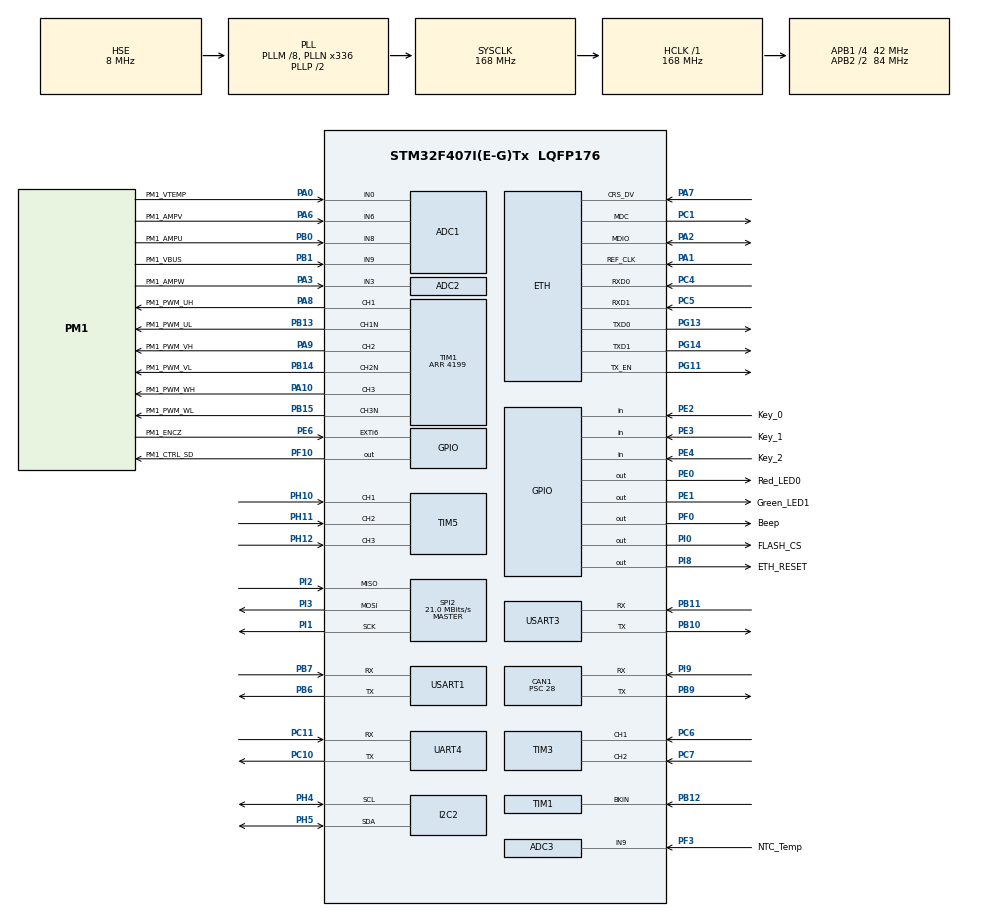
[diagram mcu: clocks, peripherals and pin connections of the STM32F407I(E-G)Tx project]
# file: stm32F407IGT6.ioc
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ADC1.Channel-0\#ChannelRegularConversion=ADC_CHANNEL_8
ADC1.NbrOfConversion=1
ADC1.NbrOfConversionFlag=1
ADC1.Rank-0\#ChannelRegularConversion=1
ADC1.SamplingTime-0\#ChannelRegularConversion=ADC_SAMPLETIME_3CYCLES
ADC1.master=1
ADC2.Channel-0\#ChannelRegularConversion=ADC_CHANNEL_3
ADC2.NbrOfConversionFlag=1
ADC2.Rank-0\#ChannelRegularConversion=1
ADC2.SamplingTime-0\#ChannelRegularConversion=ADC_SAMPLETIME_3CYCLES
ADC3.Channel-0\#ChannelRegularConversion=ADC_CHANNEL_9
ADC3.NbrOfConversionFlag=1
ADC3.Rank-0\#ChannelRegularConversion=1
ADC3.SamplingTime-0\#ChannelRegularConversion=ADC_SAMPLETIME_3CYCLES
CAN1.CalculateBaudRate=499999
CAN1.CalculateTimeBit=2000
CAN1.CalculateTimeQuantum=666.6666666666667
CAN1.Prescaler=28
Dma.ADC1.0.Direction=DMA_PERIPH_TO_MEMORY
Dma.ADC1.0.FIFOMode=DMA_FIFOMODE_DISABLE
Dma.ADC1.0.Instance=DMA2_Stream0
Dma.ADC1.0.MemDataAlignment=DMA_MDATAALIGN_HALFWORD
Dma.ADC1.0.MemInc=DMA_MINC_ENABLE
Dma.ADC1.0.Mode=DMA_CIRCULAR
Dma.ADC1.0.PeriphDataAlignment=DMA_PDATAALIGN_HALFWORD
Dma.ADC1.0.PeriphInc=DMA_PINC_DISABLE
Dma.ADC1.0.Priority=DMA_PRIORITY_LOW
Dma.ADC2.1.Direction=DMA_PERIPH_TO_MEMORY
Dma.ADC2.1.FIFOMode=DMA_FIFOMODE_DISABLE
Dma.ADC2.1.Instance=DMA2_Stream2
Dma.ADC2.1.MemDataAlignment=DMA_MDATAALIGN_HALFWORD
Dma.ADC2.1.MemInc=DMA_MINC_ENABLE
Dma.ADC2.1.Mode=DMA_CIRCULAR
Dma.ADC2.1.PeriphDataAlignment=DMA_PDATAALIGN_HALFWORD
Dma.ADC2.1.PeriphInc=DMA_PINC_DISABLE
Dma.ADC2.1.Priority=DMA_PRIORITY_LOW
Dma.ADC3.2.Direction=DMA_PERIPH_TO_MEMORY
Dma.ADC3.2.FIFOMode=DMA_FIFOMODE_DISABLE
Dma.ADC3.2.Instance=DMA2_Stream1
Dma.ADC3.2.MemDataAlignment=DMA_MDATAALIGN_HALFWORD
Dma.ADC3.2.MemInc=DMA_MINC_ENABLE
Dma.ADC3.2.Mode=DMA_CIRCULAR
Dma.ADC3.2.PeriphDataAlignment=DMA_PDATAALIGN_HALFWORD
Dma.ADC3.2.PeriphInc=DMA_PINC_DISABLE
Dma.ADC3.2.Priority=DMA_PRIORITY_LOW
Dma.Request0=ADC1
Dma.Request1=ADC2
Dma.Request2=ADC3
ETH.MediaInterface=HAL_ETH_RMII_MODE
FREERTOS.Tasks01=defaultTask,24,128,StartDefaultTask,Default,NULL,Dynamic,NULL,NULL
LWIP.BSP.number=1
LWIP.IP_ADDRESS=192.168.115.030
LWIP.LWIP_DHCP=0
LWIP.NETMASK_ADDRESS=255.255.255.000
LWIP.Version=v2.1.2_Cube
LWIP0.BSP.STBoard=false
LWIP0.BSP.api=BSP_COMPONENT_DRIVER
LWIP0.BSP.component=USER_PHY
LWIP0.BSP.instance=USER_PHY
LWIP0.BSP.name=Driver_PHY
LWIP0.BSP.semaphore=S_USER_PHY
LWIP0.BSP.solution=USER_PHY
Mcu.Family=STM32F4
Mcu.Name=STM32F407I(E-G)Tx
Mcu.Package=LQFP176
NVIC.DMA2_Stream0_IRQn=true\:5\:0\:false\:false\:true\:true\:false\:true\:true
NVIC.DMA2_Stream1_IRQn=true\:5\:0\:false\:false\:true\:true\:false\:true\:true
NVIC.DMA2_Stream2_IRQn=true\:5\:0\:false\:false\:true\:true\:false\:true\:true
NVIC.ETH_IRQn=true\:5\:0\:false\:false\:true\:true\:false\:true\:true
NVIC.PriorityGroup=NVIC_PRIORITYGROUP_4
NVIC.TIM1_UP_TIM10_IRQn=true\:5\:0\:false\:false\:true\:true\:true\:true\:true
NVIC.TIM6_DAC_IRQn=true\:15\:0\:false\:false\:true\:false\:false\:true\:true
NVIC.TimeBase=TIM6_DAC_IRQn
NVIC.TimeBaseIP=TIM6
PA0-WKUP.GPIO_Label=PM1_VTEMP
PA0-WKUP.Signal=ADCx_IN0
PA1.Mode=RMII
PA1.Signal=ETH_REF_CLK
PA10.GPIO_Label=PM1_PWM_WH
PA10.GPIO_Speed=GPIO_SPEED_FREQ_VERY_HIGH
PA10.Signal=S_TIM1_CH3
PA13.Mode=Serial_Wire
PA13.Signal=SYS_JTMS-SWDIO
PA14.Mode=Serial_Wire
PA14.Signal=SYS_JTCK-SWCLK
PA2.Mode=RMII
PA2.Signal=ETH_MDIO
PA3.GPIO_Label=PM1_AMPW
PA3.Signal=ADCx_IN3
PA6.GPIO_Label=PM1_AMPV
PA6.Signal=ADCx_IN6
PA7.Mode=RMII
PA7.Signal=ETH_CRS_DV
PA8.GPIO_Label=PM1_PWM_UH
PA8.GPIO_Speed=GPIO_SPEED_FREQ_VERY_HIGH
PA8.Signal=S_TIM1_CH1
PA9.GPIO_Label=PM1_PWM_VH
PA9.GPIO_Speed=GPIO_SPEED_FREQ_VERY_HIGH
PA9.Signal=S_TIM1_CH2
PB0.GPIO_Label=PM1_AMPU
PB0.Signal=ADCx_IN8
PB1.GPIO_Label=PM1_VBUS
PB1.Signal=ADCx_IN9
PB10.Mode=Asynchronous
PB10.Signal=USART3_TX
PB11.Mode=Asynchronous
PB11.Signal=USART3_RX
PB12.Mode=Activate-Break-Input
PB12.Signal=TIM1_BKIN
PB13.GPIO_Label=PM1_PWM_UL
PB13.GPIO_Speed=GPIO_SPEED_FREQ_VERY_HIGH
PB13.Mode=PWM Generation1 CH1 CH1N
PB13.Signal=TIM1_CH1N
PB14.GPIO_Label=PM1_PWM_VL
PB14.GPIO_Speed=GPIO_SPEED_FREQ_VERY_HIGH
PB14.Mode=PWM Generation2 CH2 CH2N
PB14.Signal=TIM1_CH2N
PB15.GPIO_Label=PM1_PWM_WL
PB15.GPIO_Speed=GPIO_SPEED_FREQ_VERY_HIGH
PB15.Mode=PWM Generation3 CH3 CH3N
PB15.Signal=TIM1_CH3N
PB6.Mode=Asynchronous
PB6.Signal=USART1_TX
PB7.Mode=Asynchronous
PB7.Signal=USART1_RX
PB9.Mode=CAN_Activate
PB9.Signal=CAN1_TX
PC1.Mode=RMII
PC1.Signal=ETH_MDC
PC10.Mode=Asynchronous
PC10.Signal=UART4_TX
PC11.Mode=Asynchronous
PC11.Signal=UART4_RX
PC14-OSC32_IN.Mode=LSE-External-Oscillator
PC14-OSC32_IN.Signal=RCC_OSC32_IN
PC15-OSC32_OUT.Mode=LSE-External-Oscillator
PC15-OSC32_OUT.Signal=RCC_OSC32_OUT
PC4.Mode=RMII
PC4.Signal=ETH_RXD0
PC5.Mode=RMII
PC5.Signal=ETH_RXD1
PC6.Signal=S_TIM3_CH1
PC7.Signal=S_TIM3_CH2
PE0.GPIO_Label=Red_LED0
PE0.GPIO_PuPd=GPIO_PULLUP
PE0.PinState=GPIO_PIN_SET
PE0.Signal=GPIO_Output
PE1.GPIO_Label=Green_LED1
PE1.GPIO_PuPd=GPIO_PULLUP
PE1.PinState=GPIO_PIN_SET
PE1.Signal=GPIO_Output
PE2.GPIO_Label=Key_0
PE2.GPIO_PuPd=GPIO_PULLUP
PE2.Signal=GPIO_Input
PE3.GPIO_Label=Key_1
PE3.GPIO_PuPd=GPIO_PULLUP
PE3.Signal=GPIO_Input
PE4.GPIO_Label=Key_2
PE4.GPIO_PuPd=GPIO_PULLUP
PE4.Signal=GPIO_Input
PE6.GPIO_Label=PM1_ENCZ
PE6.Signal=GPXTI6
PF0.GPIO_Label=Beep
PF0.GPIO_PuPd=GPIO_PULLDOWN
PF0.Signal=GPIO_Output
PF10.GPIO_Label=PM1_CTRL_SD
PF10.Signal=GPIO_Output
PF3.GPIO_Label=NTC_Temp
PF3.Mode=IN9
PF3.Signal=ADC3_IN9
PG11.Mode=RMII
PG11.Signal=ETH_TX_EN
PG13.Mode=RMII
PG13.Signal=ETH_TXD0
PG14.Mode=RMII
PG14.Signal=ETH_TXD1
PH0-OSC_IN.Mode=HSE-External-Oscillator
PH0-OSC_IN.Signal=RCC_OSC_IN
PH1-OSC_OUT.Mode=HSE-External-Oscillator
PH1-OSC_OUT.Signal=RCC_OSC_OUT
PH10.Signal=S_TIM5_CH1
PH11.Signal=S_TIM5_CH2
PH12.Signal=S_TIM5_CH3
PH4.Mode=I2C
PH4.Signal=I2C2_SCL
PH5.Mode=I2C
PH5.Signal=I2C2_SDA
PI0.GPIO_Label=FLASH_CS
PI0.Signal=GPIO_Output
PI1.Mode=Full_Duplex_Master
PI1.Signal=SPI2_SCK
PI2.Mode=Full_Duplex_Master
PI2.Signal=SPI2_MISO
PI3.Mode=Full_Duplex_Master
PI3.Signal=SPI2_MOSI
PI8-\ ANTI\ TAMP2.GPIO_Label=ETH_RESET
PI8-\ ANTI\ TAMP2.GPIO_PuPd=GPIO_PULLUP
PI8-\ ANTI\ TAMP2.PinState=GPIO_PIN_SET
PI8-\ ANTI\ TAMP2.Signal=GPIO_Output
PI9.Mode=CAN_Activate
PI9.Signal=CAN1_RX
ProjectManager.HeapSize=0x200
ProjectManager.StackSize=0x400
ProjectManager.TargetToolchain=CMake
RCC.48MHZClocksFreq_Value=84000000
RCC.AHBFreq_Value=168000000
RCC.APB1CLKDivider=RCC_HCLK_DIV4
RCC.APB1Freq_Value=42000000
RCC.APB1TimFreq_Value=84000000
RCC.APB2CLKDivider=RCC_HCLK_DIV2
RCC.APB2Freq_Value=84000000
RCC.APB2TimFreq_Value=168000000
RCC.CortexFreq_Value=168000000
RCC.HCLKFreq_Value=168000000
RCC.HSE_VALUE=8000000
RCC.HSI_VALUE=16000000
RCC.PLLM=8
RCC.PLLN=336
RCC.PLLSourceVirtual=RCC_PLLSOURCE_HSE
RCC.SYSCLKFreq_VALUE=168000000
RCC.SYSCLKSource=RCC_SYSCLKSOURCE_PLLCLK
RCC.VCOOutputFreq_Value=336000000
SH.ADCx_IN0.0=ADC1_IN0,IN0
SH.ADCx_IN3.0=ADC2_IN3,IN3
SH.ADCx_IN6.0=ADC1_IN6,IN6
SH.ADCx_IN8.0=ADC1_IN8,IN8
SH.ADCx_IN9.0=ADC1_IN9,IN9
SH.S_TIM1_CH1.0=TIM1_CH1,PWM Generation1 CH1 CH1N
SH.S_TIM1_CH2.0=TIM1_CH2,PWM Generation2 CH2 CH2N
SH.S_TIM1_CH3.0=TIM1_CH3,PWM Generation3 CH3 CH3N
SH.S_TIM3_CH1.0=TIM3_CH1,Encoder_Interface
SH.S_TIM3_CH2.0=TIM3_CH2,Encoder_Interface
SH.S_TIM5_CH1.0=TIM5_CH1,Xored_Inputs_Hall_Sensor_Interface
SH.S_TIM5_CH2.0=TIM5_CH2,Xored_Inputs_Hall_Sensor_Interface
SH.S_TIM5_CH3.0=TIM5_CH3,Xored_Inputs_Hall_Sensor_Interface
SPI2.CalculateBaudRate=21.0 MBits/s
SPI2.Direction=SPI_DIRECTION_2LINES
SPI2.Mode=SPI_MODE_MASTER
SPI2.VirtualType=VM_MASTER
TIM1.AutomaticOutput=TIM_AUTOMATICOUTPUT_DISABLE
TIM1.Channel-PWM\ Generation1\ CH1\ CH1N=TIM_CHANNEL_1
TIM1.Channel-PWM\ Generation2\ CH2\ CH2N=TIM_CHANNEL_2
TIM1.Channel-PWM\ Generation3\ CH3\ CH3N=TIM_CHANNEL_3
TIM1.CounterMode=TIM_COUNTERMODE_CENTERALIGNED1
TIM1.DeadTime=84
TIM1.Period=4199
UART4.VirtualMode=Asynchronous
USART1.VirtualMode=VM_ASYNC
USART3.VirtualMode=VM_ASYNC
VP_FREERTOS_VS_CMSIS_V2.Mode=CMSIS_V2
VP_LWIP_VS_Enabled.Mode=Enabled
VP_SYS_VS_tim6.Mode=TIM6
VP_TIM1_VS_ClockSourceINT.Mode=Internal
board=custom

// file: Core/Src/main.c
/* USER CODE BEGIN Header */
/**
  ******************************************************************************
  * @file           : main.c
  * @brief          : Main program body
  ******************************************************************************
  * @attention
  *
  * Copyright (c) 2026 STMicroelectronics.
  * All rights reserved.
  *
  * This software is licensed under terms that can be found in the LICENSE file
  * in the root directory of this software component.
  * If no LICENSE file comes with this software, it is provided AS-IS.
  *
  ******************************************************************************
  */
/* USER CODE END Header */
#include "main.h"
#include "cmsis_os.h"
#include "adc.h"
#include "can.h"
#include "dma.h"
#include "i2c.h"
#include "lwip.h"
#include "spi.h"
#include "tim.h"
#include "usart.h"
#include "gpio.h"

/* USER CODE BEGIN Includes */
#include "motor_pwm.h"

/* USER CODE END Includes */

void SystemClock_Config(void);
void MX_FREERTOS_Init(void);
/* USER CODE BEGIN PFP */
static void ETH_PHY_Reset(void);

/* USER CODE END PFP */

int main(void)
{

  /* MCU Configuration--------------------------------------------------------*/

  /* Reset of all peripherals, Initializes the Flash interface and the Systick. */
  HAL_Init();

  /* Configure the system clock */
  SystemClock_Config();

  /* Initialize all configured peripherals */
  MX_GPIO_Init();
  MX_DMA_Init();
  MX_USART1_UART_Init();
  MX_TIM1_Init();
  MX_ADC1_Init();
  MX_ADC2_Init();
  MX_ADC3_Init();
  MX_CAN1_Init();
  MX_I2C2_Init();
  MX_SPI2_Init();
  MX_TIM3_Init();
  MX_TIM5_Init();
  MX_UART4_Init();
  MX_USART3_UART_Init();
  /* USER CODE BEGIN 2 */
  if (MotorPwm_Init() != MOTOR_PWM_OK)
  {
    Error_Handler();
  }
  ETH_PHY_Reset();

  /* USER CODE END 2 */

  /* Init scheduler */
  osKernelInitialize();  /* Call init function for freertos objects (in cmsis_os2.c) */
  MX_FREERTOS_Init();

  /* Start scheduler */
  osKernelStart();

  /* We should never get here as control is now taken by the scheduler */

  /* Infinite loop */
  while (1)
  {

  }
}

void SystemClock_Config(void)
{
  RCC_OscInitTypeDef RCC_OscInitStruct = {0};
  RCC_ClkInitTypeDef RCC_ClkInitStruct = {0};

  /** Configure the main internal regulator output voltage
  */
  __HAL_RCC_PWR_CLK_ENABLE();
  __HAL_PWR_VOLTAGESCALING_CONFIG(PWR_REGULATOR_VOLTAGE_SCALE1);

  /** Initializes the RCC Oscillators according to the specified parameters
  * in the RCC_OscInitTypeDef structure.
  */
  RCC_OscInitStruct.OscillatorType = RCC_OSCILLATORTYPE_HSE;
  RCC_OscInitStruct.HSEState = RCC_HSE_ON;
  RCC_OscInitStruct.PLL.PLLState = RCC_PLL_ON;
  RCC_OscInitStruct.PLL.PLLSource = RCC_PLLSOURCE_HSE;
  RCC_OscInitStruct.PLL.PLLM = 8;
  RCC_OscInitStruct.PLL.PLLN = 336;
  RCC_OscInitStruct.PLL.PLLP = RCC_PLLP_DIV2;
  RCC_OscInitStruct.PLL.PLLQ = 4;
  if (HAL_RCC_OscConfig(&RCC_OscInitStruct) != HAL_OK)
  {
    Error_Handler();
  }

  /** Initializes the CPU, AHB and APB buses clocks
  */
  RCC_ClkInitStruct.ClockType = RCC_CLOCKTYPE_HCLK|RCC_CLOCKTYPE_SYSCLK
                              |RCC_CLOCKTYPE_PCLK1|RCC_CLOCKTYPE_PCLK2;
  RCC_ClkInitStruct.SYSCLKSource = RCC_SYSCLKSOURCE_PLLCLK;
  RCC_ClkInitStruct.AHBCLKDivider = RCC_SYSCLK_DIV1;
  RCC_ClkInitStruct.APB1CLKDivider = RCC_HCLK_DIV4;
  RCC_ClkInitStruct.APB2CLKDivider = RCC_HCLK_DIV2;

  if (HAL_RCC_ClockConfig(&RCC_ClkInitStruct, FLASH_LATENCY_5) != HAL_OK)
  {
    Error_Handler();
  }
}

/* USER CODE BEGIN 4 */

static void ETH_PHY_Reset(void)
{
  HAL_GPIO_WritePin(ETH_RESET_GPIO_Port, ETH_RESET_Pin, GPIO_PIN_RESET);
  HAL_Delay(10);
  HAL_GPIO_WritePin(ETH_RESET_GPIO_Port, ETH_RESET_Pin, GPIO_PIN_SET);
  HAL_Delay(10);
}

/* USER CODE END 4 */

void HAL_TIM_PeriodElapsedCallback(TIM_HandleTypeDef *htim)
{
  if (htim->Instance == TIM6)
  {
    HAL_IncTick();
  }
  /* USER CODE BEGIN Callback 1 */
  if (htim->Instance == TIM1)
  {
    MotorPwm_Commutate();
  }

  /* USER CODE END Callback 1 */
}

void Error_Handler(void)
{
  __disable_irq();
  while (1)
  {
  }
}

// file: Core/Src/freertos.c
/* USER CODE BEGIN Header */
/**
  ******************************************************************************
  * File Name          : freertos.c
  * Description        : Code for freertos applications
  ******************************************************************************
  * @attention
  *
  * Copyright (c) 2026 STMicroelectronics.
  * All rights reserved.
  *
  * This software is licensed under terms that can be found in the LICENSE file
  * in the root directory of this software component.
  * If no LICENSE file comes with this software, it is provided AS-IS.
  *
  ******************************************************************************
  */
/* USER CODE END Header */

#include "FreeRTOS.h"
#include "task.h"
#include "main.h"
#include "cmsis_os.h"

/* USER CODE BEGIN Includes */
#include "common_inc.h"

/* USER CODE END Includes */

/* Definitions for defaultTask */
osThreadId_t defaultTaskHandle;
const osThreadAttr_t defaultTask_attributes = {
  .name = "defaultTask",
  .stack_size = 128 * 4,
  .priority = (osPriority_t) osPriorityNormal,
};

void StartDefaultTask(void *argument);

extern void MX_LWIP_Init(void);
void MX_FREERTOS_Init(void); /* (MISRA C 2004 rule 8.1) */

void MX_FREERTOS_Init(void) {

  /* Create the thread(s) */
  /* creation of defaultTask */
  defaultTaskHandle = osThreadNew(StartDefaultTask, NULL, &defaultTask_attributes);

}

void StartDefaultTask(void *argument)
{
  /* init code for LWIP */
  MX_LWIP_Init();
  /* USER CODE BEGIN StartDefaultTask */

    // Invoke cpp-version main().
    Main();

    vTaskDelete(defaultTaskHandle);
  /* USER CODE END StartDefaultTask */
}
